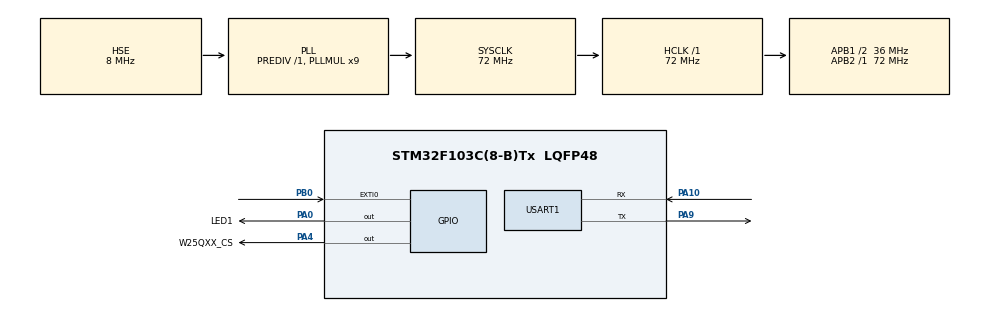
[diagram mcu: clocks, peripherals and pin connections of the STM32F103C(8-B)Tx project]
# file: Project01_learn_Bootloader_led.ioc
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Dma.Request0=USART1_RX
Dma.USART1_RX.0.Direction=DMA_PERIPH_TO_MEMORY
Dma.USART1_RX.0.Instance=DMA1_Channel5
Dma.USART1_RX.0.MemDataAlignment=DMA_MDATAALIGN_BYTE
Dma.USART1_RX.0.MemInc=DMA_MINC_ENABLE
Dma.USART1_RX.0.Mode=DMA_CIRCULAR
Dma.USART1_RX.0.PeriphDataAlignment=DMA_PDATAALIGN_BYTE
Dma.USART1_RX.0.PeriphInc=DMA_PINC_DISABLE
Dma.USART1_RX.0.Priority=DMA_PRIORITY_HIGH
Mcu.Family=STM32F1
Mcu.Name=STM32F103C(8-B)Tx
Mcu.Package=LQFP48
NVIC.DMA1_Channel5_IRQn=true\:0\:0\:false\:false\:true\:false\:true\:true
NVIC.EXTI0_IRQn=true\:4\:0\:true\:false\:true\:true\:true\:true
NVIC.PriorityGroup=NVIC_PRIORITYGROUP_4
NVIC.USART1_IRQn=true\:5\:0\:true\:false\:true\:true\:true\:true
PA0-WKUP.GPIO_Label=LED1
PA0-WKUP.GPIO_Speed=GPIO_SPEED_FREQ_HIGH
PA0-WKUP.PinState=GPIO_PIN_SET
PA0-WKUP.Signal=GPIO_Output
PA10.Mode=Asynchronous
PA10.Signal=USART1_RX
PA13.Mode=Serial_Wire
PA13.Signal=SYS_JTMS-SWDIO
PA14.Mode=Serial_Wire
PA14.Signal=SYS_JTCK-SWCLK
PA4.GPIO_Label=W25QXX_CS
PA4.GPIO_Speed=GPIO_SPEED_FREQ_HIGH
PA4.PinState=GPIO_PIN_SET
PA4.Signal=GPIO_Output
PA9.Mode=Asynchronous
PA9.Signal=USART1_TX
PB0.GPIO_ModeDefaultEXTI=GPIO_MODE_IT_FALLING
PB0.GPIO_PuPd=GPIO_PULLUP
PB0.Signal=GPXTI0
PC14-OSC32_IN.Mode=LSE-External-Oscillator
PC14-OSC32_IN.Signal=RCC_OSC32_IN
PC15-OSC32_OUT.Mode=LSE-External-Oscillator
PC15-OSC32_OUT.Signal=RCC_OSC32_OUT
PD0-OSC_IN.Mode=HSE-External-Oscillator
PD0-OSC_IN.Signal=RCC_OSC_IN
PD1-OSC_OUT.Mode=HSE-External-Oscillator
PD1-OSC_OUT.Signal=RCC_OSC_OUT
ProjectManager.HeapSize=0x200
ProjectManager.StackSize=0x400
ProjectManager.TargetToolchain=MDK-ARM V5.32
RCC.AHBFreq_Value=72000000
RCC.APB1CLKDivider=RCC_HCLK_DIV2
RCC.APB1Freq_Value=36000000
RCC.APB1TimFreq_Value=72000000
RCC.APB2Freq_Value=72000000
RCC.APB2TimFreq_Value=72000000
RCC.HCLKFreq_Value=72000000
RCC.PLLMUL=RCC_PLL_MUL9
RCC.PLLSourceVirtual=RCC_PLLSOURCE_HSE
RCC.SYSCLKFreq_VALUE=72000000
RCC.SYSCLKSource=RCC_SYSCLKSOURCE_PLLCLK
RCC.USBFreq_Value=72000000
USART1.VirtualMode=VM_ASYNC
board=custom

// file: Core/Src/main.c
/* USER CODE BEGIN Header */
/**
  ******************************************************************************
  * @file           : main.c
  * @brief          : Main program body
  ******************************************************************************
  * @attention
  *
  * Copyright (c) 2026 STMicroelectronics.
  * All rights reserved.
  *
  * This software is licensed under terms that can be found in the LICENSE file
  * in the root directory of this software component.
  * If no LICENSE file comes with this software, it is provided AS-IS.
  *
  ******************************************************************************
  */
/* USER CODE END Header */
#include "main.h"
#include "dma.h"
#include "usart.h"
#include "gpio.h"

/* USER CODE BEGIN Includes */
#include "app_bootloader.h"
#include "bsp_button.h"
#include "bsp_soft_i2c.h"
#include "bsp_soft_spi.h"
#include "uart_buf.h"
#include "stm32f1xx_hal.h"
#include <stdio.h>
/* USER CODE END Includes */

/* USER CODE BEGIN PV */
AT24C02_t eeprom_dev;
W25Q16_t  w25q_dev;
/* USER CODE END PV */

void SystemClock_Config(void);

int main(void)
{

  /* MCU Configuration--------------------------------------------------------*/

  /* Reset of all peripherals, Initializes the Flash interface and the Systick. */
  HAL_Init();

  /* Configure the system clock */
  SystemClock_Config();

  /* Initialize all configured peripherals */
  MX_GPIO_Init();
  MX_DMA_Init();
  MX_USART1_UART_Init();
  /* USER CODE BEGIN 2 */

  HAL_GPIO_WritePin(LED1_GPIO_Port, LED1_Pin, GPIO_PIN_RESET);
  UART_DMA_Rx_Init();

  /* 初始化按键（EXTI 就绪，尽早检测上电时已按住） */
  BSP_Button_Init();

  /* 初始化外部存储设备（软件 I2C/SPI） */
  BSP_SoftI2C_Init();
  AT24C02_Init(&eeprom_dev, &i2c1_bus, AT24C02_ADDR);
  BSP_SoftSPI_Init();
  W25Q16_Init(&w25q_dev, &spi1_bus, W25Q_CS_PORT, W25Q_CS_PIN);

  /* 检测恢复出厂按键 */
  if (BSP_Button_Pressed())
  {
      /* 直接跳转到出厂区(0x08004000)，成功不返回 */
      App_bootloader_factory_reset();
  }
  else
  {
      /* 判断是否需要更新 */
      App_bootloader_check_update();

      /* 分支选择 */
      if (app_boot_update_status == BOOT_NO_UPDATE)
      {
          App_bootloader_jump_app();
      }
      else
      {
          int ret = App_bootloader_update();
          if (ret == 0)
          {
              /* 搬运成功，跳转新 App */
              App_bootloader_jump_app();
          }
          else
          {
              /* 搬运失败（EEPROM 已清除），跳出厂区 */
              printf("[BL] Update failed, jump factory\r\n");
              App_bootloader_factory_reset();
          }
      }
  }

  /* USER CODE END 2 */

  /* Infinite loop */
  while (1)
  {

	}
}

void SystemClock_Config(void)
{
  RCC_OscInitTypeDef RCC_OscInitStruct = {0};
  RCC_ClkInitTypeDef RCC_ClkInitStruct = {0};

  /** Initializes the RCC Oscillators according to the specified parameters
  * in the RCC_OscInitTypeDef structure.
  */
  RCC_OscInitStruct.OscillatorType = RCC_OSCILLATORTYPE_HSE;
  RCC_OscInitStruct.HSEState = RCC_HSE_ON;
  RCC_OscInitStruct.HSEPredivValue = RCC_HSE_PREDIV_DIV1;
  RCC_OscInitStruct.HSIState = RCC_HSI_ON;
  RCC_OscInitStruct.PLL.PLLState = RCC_PLL_ON;
  RCC_OscInitStruct.PLL.PLLSource = RCC_PLLSOURCE_HSE;
  RCC_OscInitStruct.PLL.PLLMUL = RCC_PLL_MUL9;
  if (HAL_RCC_OscConfig(&RCC_OscInitStruct) != HAL_OK)
  {
    Error_Handler();
  }

  /** Initializes the CPU, AHB and APB buses clocks
  */
  RCC_ClkInitStruct.ClockType = RCC_CLOCKTYPE_HCLK|RCC_CLOCKTYPE_SYSCLK
                              |RCC_CLOCKTYPE_PCLK1|RCC_CLOCKTYPE_PCLK2;
  RCC_ClkInitStruct.SYSCLKSource = RCC_SYSCLKSOURCE_PLLCLK;
  RCC_ClkInitStruct.AHBCLKDivider = RCC_SYSCLK_DIV1;
  RCC_ClkInitStruct.APB1CLKDivider = RCC_HCLK_DIV2;
  RCC_ClkInitStruct.APB2CLKDivider = RCC_HCLK_DIV1;

  if (HAL_RCC_ClockConfig(&RCC_ClkInitStruct, FLASH_LATENCY_2) != HAL_OK)
  {
    Error_Handler();
  }
}

void Error_Handler(void)
{
  __disable_irq();
  while (1)
  {
  }
}
